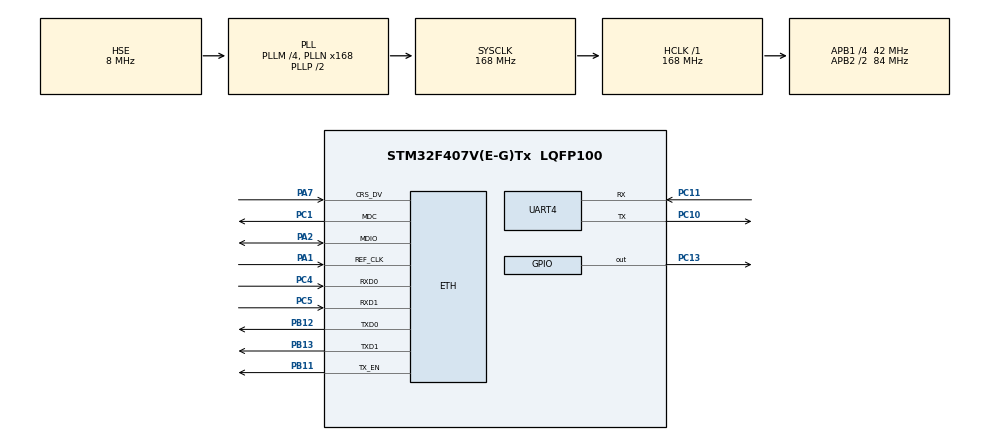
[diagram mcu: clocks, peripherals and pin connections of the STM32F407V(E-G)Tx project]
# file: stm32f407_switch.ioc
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ETH.AutoNegotiation=ETH_AUTONEGOTIATION_DISABLE
ETH.MediaInterface=ETH_MEDIA_INTERFACE_RMII
ETH.PHY_Name_RMII=userPHY
ETH.PHY_User_Name=M88E6390
ETH.PhyAddress=0
FREERTOS.INCLUDE_eTaskGetState=1
FREERTOS.INCLUDE_uxTaskGetStackHighWaterMark=1
FREERTOS.INCLUDE_vTaskDelayUntil=1
FREERTOS.INCLUDE_xQueueGetMutexHolder=1
FREERTOS.Tasks01=defaultTask,0,512,StartDefaultTask,Default,NULL,Dynamic,NULL,NULL
FREERTOS.configUSE_COUNTING_SEMAPHORES=1
FREERTOS.configUSE_RECURSIVE_MUTEXES=1
FREERTOS.configUSE_TRACE_FACILITY=1
LWIP.GATEWAY_ADDRESS=192.168.000.001
LWIP.IP_ADDRESS=192.168.000.200
LWIP.LWIP_DHCP=0
LWIP.LWIP_HTTPD=1
LWIP.LWIP_HTTPD_CGI=1
LWIP.LWIP_HTTPD_MAX_TAG_INSERT_LEN=256
LWIP.LWIP_HTTPD_MAX_TAG_NAME_LEN=16
LWIP.LWIP_HTTPD_SSI=1
LWIP.MEM_SIZE=12288
LWIP.NETMASK_ADDRESS=255.255.255.000
LWIP.TCPIP_THREAD_STACKSIZE=1728
LWIP.Version=v2.1.2_Cube
Mcu.Family=STM32F4
Mcu.Name=STM32F407V(E-G)Tx
Mcu.Package=LQFP100
NVIC.ETH_IRQn=true\:5\:0\:false\:false\:true\:true\:false\:true
NVIC.PriorityGroup=NVIC_PRIORITYGROUP_4
NVIC.TIM1_UP_TIM10_IRQn=true\:0\:0\:false\:false\:true\:false\:false\:true
NVIC.TimeBase=TIM1_UP_TIM10_IRQn
NVIC.TimeBaseIP=TIM1
PA1.Mode=RMII
PA1.Signal=ETH_REF_CLK
PA13.Mode=Serial_Wire
PA13.Signal=SYS_JTMS-SWDIO
PA14.Mode=Serial_Wire
PA14.Signal=SYS_JTCK-SWCLK
PA2.Mode=RMII
PA2.Signal=ETH_MDIO
PA7.Mode=RMII
PA7.Signal=ETH_CRS_DV
PB11.Mode=RMII
PB11.Signal=ETH_TX_EN
PB12.Mode=RMII
PB12.Signal=ETH_TXD0
PB13.Mode=RMII
PB13.Signal=ETH_TXD1
PC1.Mode=RMII
PC1.Signal=ETH_MDC
PC10.Mode=Asynchronous
PC10.Signal=UART4_TX
PC11.Mode=Asynchronous
PC11.Signal=UART4_RX
PC13-ANTI_TAMP.Signal=GPIO_Output
PC4.Mode=RMII
PC4.Signal=ETH_RXD0
PC5.Mode=RMII
PC5.Signal=ETH_RXD1
PH0-OSC_IN.Mode=HSE-External-Oscillator
PH0-OSC_IN.Signal=RCC_OSC_IN
PH1-OSC_OUT.Mode=HSE-External-Oscillator
PH1-OSC_OUT.Signal=RCC_OSC_OUT
ProjectManager.HeapSize=0x1050
ProjectManager.StackSize=0x650
ProjectManager.TargetToolchain=MDK-ARM V5
RCC.48MHZClocksFreq_Value=84000000
RCC.AHBFreq_Value=168000000
RCC.APB1CLKDivider=RCC_HCLK_DIV4
RCC.APB1Freq_Value=42000000
RCC.APB1TimFreq_Value=84000000
RCC.APB2CLKDivider=RCC_HCLK_DIV2
RCC.APB2Freq_Value=84000000
RCC.APB2TimFreq_Value=168000000
RCC.CortexFreq_Value=168000000
RCC.HCLKFreq_Value=168000000
RCC.HSE_VALUE=8000000
RCC.HSI_VALUE=16000000
RCC.LSE_VALUE=32768
RCC.PLLM=4
RCC.PLLN=168
RCC.PLLSourceVirtual=RCC_PLLSOURCE_HSE
RCC.SYSCLKFreq_VALUE=168000000
RCC.SYSCLKSource=RCC_SYSCLKSOURCE_PLLCLK
RCC.VCOOutputFreq_Value=336000000
UART4.VirtualMode=Asynchronous
VP_FREERTOS_VS_CMSIS_V1.Mode=CMSIS_V1
VP_LWIP_VS_Enabled.Mode=Enabled
VP_SYS_VS_tim1.Mode=TIM1
board=custom

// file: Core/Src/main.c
/* USER CODE BEGIN Header */
/**
  ******************************************************************************
  * @file           : main.c
  * @brief          : Main program body
  ******************************************************************************
  * @attention
  *
  * <h2><center>&copy; Copyright (c) 2022 STMicroelectronics.
  * All rights reserved.</center></h2>
  *
  * This software component is licensed by ST under Ultimate Liberty license
  * SLA0044, the "License"; You may not use this file except in compliance with
  * the License. You may obtain a copy of the License at:
  *                             www.st.com/SLA0044
  *
  ******************************************************************************
  */
/* USER CODE END Header */
#include "main.h"
#include "cmsis_os.h"
#include "lwip.h"
#include "usart.h"
#include "gpio.h"

/* USER CODE BEGIN Includes */
#include "kubot_debug.h"
#include "httpd.h"
#include "httpd_cgi_ssi.h"
#include "sys_info.h"
#include "delay.h"
#include "fs_api.h"
#include "switch_app.h"
#include "sys_info.h"
/* USER CODE END Includes */

/* USER CODE BEGIN PM */
static uint32_t led_debug_1_tick = 0;
uint8_t reboot_flag = 0;
uint16_t reboot_timeout = 0;
/* USER CODE END PM */

void SystemClock_Config(void);
void MX_FREERTOS_Init(void);

int main(void)
{
  /* USER CODE BEGIN 1 */
  uint8_t state = 0;
  /* USER CODE END 1 */

  /* MCU Configuration--------------------------------------------------------*/

  /* Reset of all peripherals, Initializes the Flash interface and the Systick. */
  HAL_Init();

  /* Configure the system clock */
  SystemClock_Config();

  /* Initialize all configured peripherals */
  MX_GPIO_Init();
  MX_UART4_Init();
  /* USER CODE BEGIN 2 */
  delay_init();
  HAL_GPIO_WritePin(GPIOC, GPIO_PIN_13, GPIO_PIN_SET);
  state = fs_api_init();
  sys_info_config(state);
  printf("HR-LINK system starting...\r\n");
  /* USER CODE END 2 */

  /* Call init function for freertos objects (in freertos.c) */
  MX_FREERTOS_Init();
  /* Start scheduler */
  osKernelStart();

  /* We should never get here as control is now taken by the scheduler */
  /* Infinite loop */
  while (1)
  {

  }
}

void SystemClock_Config(void)
{
  RCC_OscInitTypeDef RCC_OscInitStruct = {0};
  RCC_ClkInitTypeDef RCC_ClkInitStruct = {0};

  /** Configure the main internal regulator output voltage
  */
  __HAL_RCC_PWR_CLK_ENABLE();
  __HAL_PWR_VOLTAGESCALING_CONFIG(PWR_REGULATOR_VOLTAGE_SCALE1);
  /** Initializes the RCC Oscillators according to the specified parameters
  * in the RCC_OscInitTypeDef structure.
  */
  RCC_OscInitStruct.OscillatorType = RCC_OSCILLATORTYPE_HSE;
  RCC_OscInitStruct.HSEState = RCC_HSE_ON;
  RCC_OscInitStruct.PLL.PLLState = RCC_PLL_ON;
  RCC_OscInitStruct.PLL.PLLSource = RCC_PLLSOURCE_HSE;
  RCC_OscInitStruct.PLL.PLLM = 4;
  RCC_OscInitStruct.PLL.PLLN = 168;
  RCC_OscInitStruct.PLL.PLLP = RCC_PLLP_DIV2;
  RCC_OscInitStruct.PLL.PLLQ = 4;
  if (HAL_RCC_OscConfig(&RCC_OscInitStruct) != HAL_OK)
  {
    Error_Handler();
  }
  /** Initializes the CPU, AHB and APB buses clocks
  */
  RCC_ClkInitStruct.ClockType = RCC_CLOCKTYPE_HCLK|RCC_CLOCKTYPE_SYSCLK
                              |RCC_CLOCKTYPE_PCLK1|RCC_CLOCKTYPE_PCLK2;
  RCC_ClkInitStruct.SYSCLKSource = RCC_SYSCLKSOURCE_PLLCLK;
  RCC_ClkInitStruct.AHBCLKDivider = RCC_SYSCLK_DIV1;
  RCC_ClkInitStruct.APB1CLKDivider = RCC_HCLK_DIV4;
  RCC_ClkInitStruct.APB2CLKDivider = RCC_HCLK_DIV2;

  if (HAL_RCC_ClockConfig(&RCC_ClkInitStruct, FLASH_LATENCY_5) != HAL_OK)
  {
    Error_Handler();
  }
}

/* USER CODE BEGIN 4 */
/**
 * @brief ϵͳ��������ʱ
 *
 * @param [in] time �����ϵͳ������0��Ч
 * @return void
 */
void set_reboot(uint16_t time)
{
    reboot_timeout = time;
}

/**
 * @brief ϵͳ��������
 *
 * @param void
 * @return void
 */
void reboot(void)
{
    static uint16_t time = 0;
    if(reboot_timeout)
    {
        if(time++ > reboot_timeout)reboot_flag = 1;
    }
    if(reboot_flag)
    {
        taskENTER_CRITICAL();  /* �����ٽ��� */
        NVIC_SystemReset(); // ��λ
    }
}

/**
 * @brief ϵͳ�ָ�Ĭ������
 *
 * @param void
 * @return
 */
int sys_default(void)
{
    int state = 0;

    state = fs_api_format();
    if(state)
    {
        LOG_PRINT_ERROR("File system format error\r\n");
    }
    set_reboot(200);
    return state;
}
/**
 * @brief ϵͳָʾ��
 *
 * @param void
 * @return void
 */
void led_ctrl(void)
{
    if (xTaskGetTickCount() >= led_debug_1_tick + 500)
    {
        HAL_GPIO_TogglePin(GPIOE, GPIO_PIN_10);
        led_debug_1_tick = xTaskGetTickCount();
    }
}

void StartDefaultTask(void const * argument)
{
  /* init code for LWIP */
  MX_LWIP_Init();
  /* USER CODE BEGIN StartDefaultTask */
  switch_cfg();
//  httpd_init();
//  httpd_ssi_init();
//  httpd_cgi_init();
  /* Infinite loop */
  for(;;)
  {
    led_ctrl();
//    web_login_monitor();
//    reboot();
//    switch_app();
    osDelay(1);
  }
  /* USER CODE END StartDefaultTask */
}
/* USER CODE END 4 */

 /**
  * @brief  Period elapsed callback in non blocking mode
  * @note   This function is called  when TIM1 interrupt took place, inside
  * HAL_TIM_IRQHandler(). It makes a direct call to HAL_IncTick() to increment
  * a global variable "uwTick" used as application time base.
  * @param  htim : TIM handle
  * @retval None
  */
void HAL_TIM_PeriodElapsedCallback(TIM_HandleTypeDef *htim)
{
  if (htim->Instance == TIM1) {
    HAL_IncTick();
  }
}

void Error_Handler(void)
{
  __disable_irq();
  while (1)
  {
  }
}

/************************ (C) COPYRIGHT STMicroelectronics *****END OF FILE****/

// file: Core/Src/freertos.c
/* USER CODE BEGIN Header */
/**
  ******************************************************************************
  * File Name          : freertos.c
  * Description        : Code for freertos applications
  ******************************************************************************
  * @attention
  *
  * <h2><center>&copy; Copyright (c) 2022 STMicroelectronics.
  * All rights reserved.</center></h2>
  *
  * This software component is licensed by ST under Ultimate Liberty license
  * SLA0044, the "License"; You may not use this file except in compliance with
  * the License. You may obtain a copy of the License at:
  *                             www.st.com/SLA0044
  *
  ******************************************************************************
  */
/* USER CODE END Header */

#include "FreeRTOS.h"
#include "task.h"
#include "main.h"
#include "cmsis_os.h"

osThreadId defaultTaskHandle;

void StartDefaultTask(void const * argument);

extern void MX_LWIP_Init(void);
void MX_FREERTOS_Init(void); /* (MISRA C 2004 rule 8.1) */

/* GetIdleTaskMemory prototype (linked to static allocation support) */
void vApplicationGetIdleTaskMemory( StaticTask_t **ppxIdleTaskTCBBuffer, StackType_t **ppxIdleTaskStackBuffer, uint32_t *pulIdleTaskStackSize );

/* USER CODE BEGIN GET_IDLE_TASK_MEMORY */
static StaticTask_t xIdleTaskTCBBuffer;
static StackType_t xIdleStack[configMINIMAL_STACK_SIZE];

void vApplicationGetIdleTaskMemory( StaticTask_t **ppxIdleTaskTCBBuffer, StackType_t **ppxIdleTaskStackBuffer, uint32_t *pulIdleTaskStackSize )
{
  *ppxIdleTaskTCBBuffer = &xIdleTaskTCBBuffer;
  *ppxIdleTaskStackBuffer = &xIdleStack[0];
  *pulIdleTaskStackSize = configMINIMAL_STACK_SIZE;
  /* place for user code */
}
/* USER CODE END GET_IDLE_TASK_MEMORY */

void MX_FREERTOS_Init(void) {

  /* Create the thread(s) */
  /* definition and creation of defaultTask */
  osThreadDef(defaultTask, StartDefaultTask, osPriorityNormal, 0, 512);
  defaultTaskHandle = osThreadCreate(osThread(defaultTask), NULL);

}

//void StartDefaultTask(void const * argument)
//{
//  /* init code for LWIP */
//  MX_LWIP_Init();
//  /* USER CODE BEGIN StartDefaultTask */
//  /* Infinite loop */
//  for(;;)
//  {
//    osDelay(1);
//  }
//  /* USER CODE END StartDefaultTask */
//}

/************************ (C) COPYRIGHT STMicroelectronics *****END OF FILE****/
